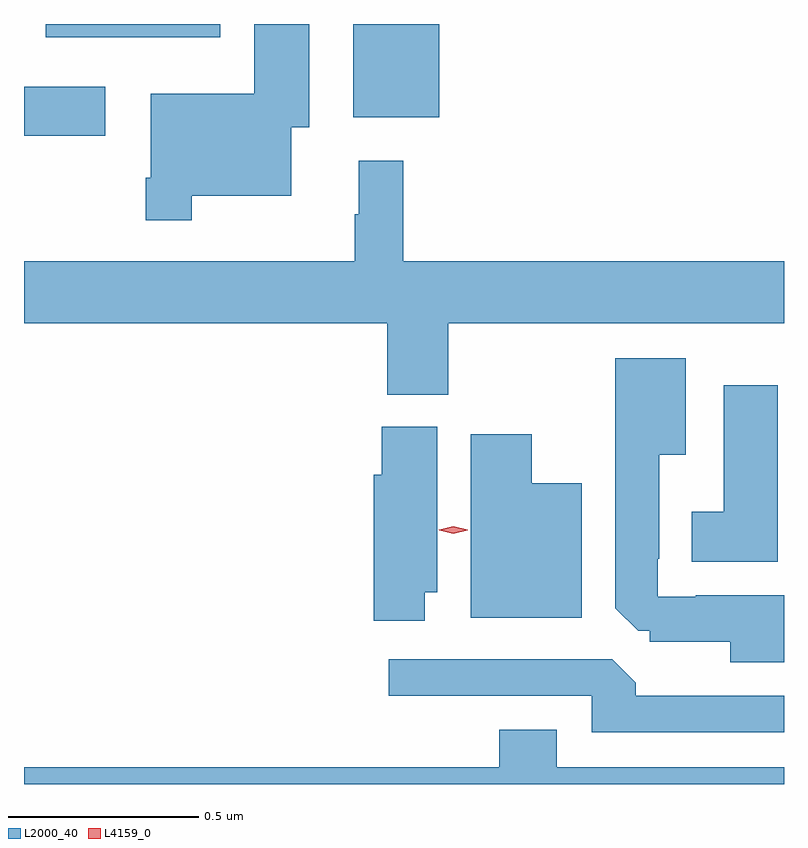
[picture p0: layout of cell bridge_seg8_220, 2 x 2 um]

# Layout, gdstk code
import gdstk
lib = gdstk.Library(unit=1e-6, precision=1e-09)
def R(c, l, rs):  # rectangles x0, y0, x1, y1
    for r in rs: c.add(gdstk.rectangle(r[:2], r[2:], *l))
def P(c, l, *ps):  # polygons
    for p in ps: c.add(gdstk.Polygon(p, *l))
L2000_40 = (2000, 40)
L4159_0 = (4159, 0)

bridge_seg8_220 = lib.new_cell('bridge_seg8_220')
R(bridge_seg8_220, L2000_40, [(138.879,1122.322,139.093,1122.451), (139.745,1122.371,139.972,1122.616), (138.936,1122.581,139.396,1122.616)])
P(bridge_seg8_220, L2000_40, [(139.321,1122.164),(139.582,1122.164),(139.582,1122.344),(139.63,1122.344),(139.63,1122.616),(139.485,1122.616),(139.485,1122.433),(139.212,1122.433),(139.212,1122.211),(139.2,1122.211),(139.2,1122.099),(139.321,1122.099)],
  [(139.995,1121.828),(140.879,1121.828),(140.879,1121.992),(139.877,1121.992),(139.877,1122.256),(139.76,1122.256),(139.76,1122.116),(139.749,1122.116),(139.749,1121.992),(138.879,1121.992),(138.879,1121.828),(139.835,1121.828),(139.835,1121.641),(139.995,1121.641)],
  [(140.879,1121.113),(140.647,1121.113),(140.647,1121.109),(140.547,1121.109),(140.547,1121.209),(140.551,1121.209),(140.551,1121.483),(140.62,1121.483),(140.62,1121.737),(140.435,1121.737),(140.435,1121.079),(140.495,1121.019),(140.526,1121.019),(140.526,1120.991),(140.738,1120.991),(140.738,1120.937),(140.879,1120.937)],
  [(140.863,1121.665),(140.72,1121.665),(140.72,1121.332),(140.636,1121.332),(140.636,1121.201),(140.863,1121.201)],
  [(139.933,1121.12),(139.966,1121.12),(139.966,1121.556),(139.82,1121.556),(139.82,1121.43),(139.799,1121.43),(139.799,1121.046),(139.933,1121.046)],
  [(140.347,1121.407),(140.215,1121.407),(140.215,1121.536),(140.054,1121.536),(140.054,1121.054),(140.347,1121.054)],
  [(140.879,1120.848),(140.489,1120.848),(140.489,1120.882),(140.427,1120.944),(139.839,1120.944),(139.839,1120.848),(140.373,1120.848),(140.373,1120.752),(140.879,1120.752)],
  [(140.879,1120.66),(140.281,1120.66),(140.281,1120.759),(140.129,1120.759),(140.129,1120.66),(138.879,1120.66),(138.879,1120.616),(140.879,1120.616)])
P(bridge_seg8_220, L4159_0, [(140.009,1121.275),(139.972,1121.284),(139.971,1121.285),(139.972,1121.285),(140.009,1121.294),(140.047,1121.285),(140.047,1121.284),(140.047,1121.284)])

lib.write_gds('bridge_seg8_220.gds')
